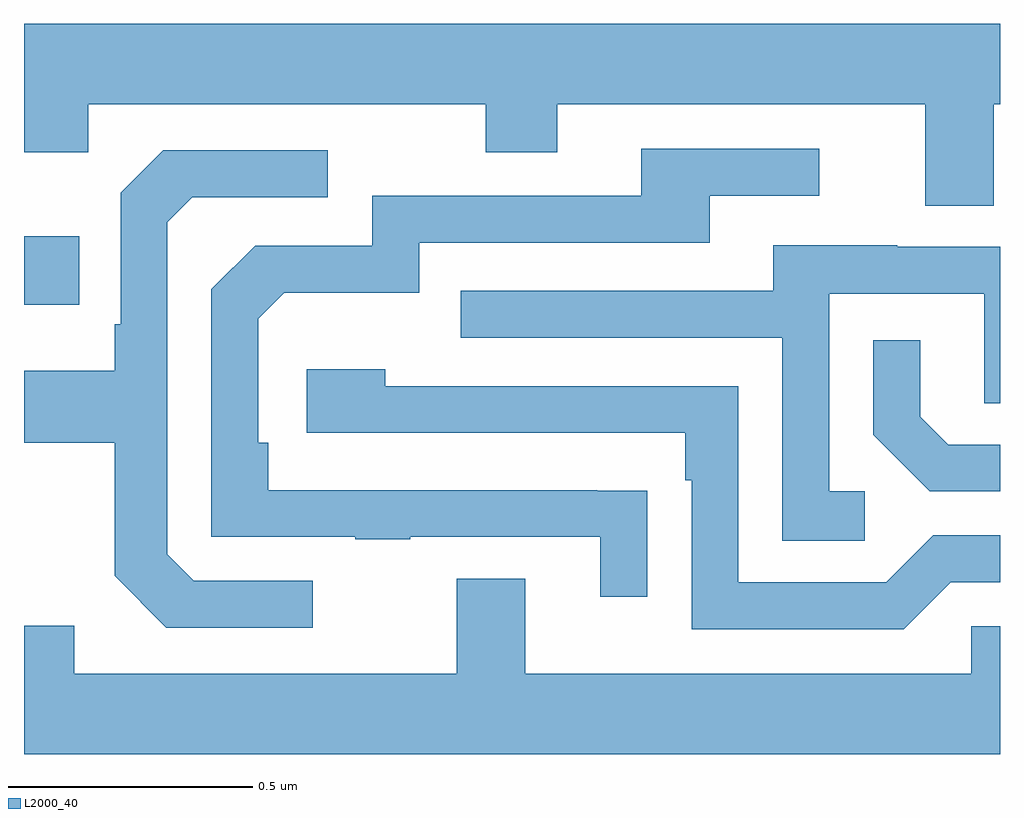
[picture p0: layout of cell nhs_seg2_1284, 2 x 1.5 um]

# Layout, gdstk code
import gdstk
lib = gdstk.Library(unit=1e-6, precision=1e-09)
def R(c, l, rs):  # rectangles x0, y0, x1, y1
    for r in rs: c.add(gdstk.rectangle(r[:2], r[2:], *l))
def P(c, l, *ps):  # polygons
    for p in ps: c.add(gdstk.Polygon(p, *l))
L2000_40 = (2000, 40)

nhs_seg2_1284 = lib.new_cell('nhs_seg2_1284')
R(nhs_seg2_1284, L2000_40, [(126,661.877,126.113,662.017)])
P(nhs_seg2_1284, L2000_40, [(127.987,662.288),(128,662.288),(128,662.452),(126,662.452),(126,662.189),(126.132,662.189),(126.132,662.288),(126.946,662.288),(126.946,662.189),(127.093,662.189),(127.093,662.288),(127.847,662.288),(127.847,662.08),(127.987,662.08)],
  [(127.277,661.496),(127.175,661.496),(127.175,661.497),(126.5,661.497),(126.5,661.594),(126.48,661.594),(126.48,661.848),(126.533,661.901),(126.81,661.901),(126.81,662.004),(127.405,662.004),(127.405,662.1),(127.63,662.1),(127.63,662.196),(127.265,662.196),(127.265,662.1),(126.714,662.1),(126.714,661.998),(126.474,661.998),(126.384,661.908),(126.384,661.401),(126.679,661.401),(126.679,661.396),(126.791,661.396),(126.791,661.401),(127.181,661.401),(127.181,661.278),(127.277,661.278)],
  [(126.592,661.311),(126.348,661.311),(126.294,661.365),(126.294,662.046),(126.345,662.097),(126.622,662.097),(126.622,662.193),(126.285,662.193),(126.198,662.106),(126.198,661.837),(126.186,661.837),(126.186,661.741),(126,661.741),(126,661.594),(126.186,661.594),(126.186,661.321),(126.291,661.215),(126.592,661.215)],
  [(127.723,661.494),(127.65,661.494),(127.65,661.899),(127.968,661.899),(127.968,661.675),(128,661.675),(128,661.995),(127.789,661.995),(127.789,661.999),(127.535,661.999),(127.535,661.905),(126.895,661.905),(126.895,661.809),(127.554,661.809),(127.554,661.393),(127.723,661.393)],
  [(128,661.59),(127.894,661.59),(127.837,661.647),(127.837,661.804),(127.74,661.804),(127.74,661.61),(127.856,661.494),(128,661.494)],
  [(127.899,661.308),(128,661.308),(128,661.404),(127.863,661.404),(127.767,661.308),(127.464,661.308),(127.464,661.71),(126.74,661.71),(126.74,661.744),(126.579,661.744),(126.579,661.614),(127.355,661.614),(127.355,661.517),(127.368,661.517),(127.368,661.212),(127.803,661.212)],
  [(128,661.218),(127.941,661.218),(127.941,661.12),(127.027,661.12),(127.027,661.315),(126.887,661.315),(126.887,661.12),(126.103,661.12),(126.103,661.219),(126,661.219),(126,660.956),(128,660.956)])

lib.write_gds('nhs_seg2_1284.gds')
